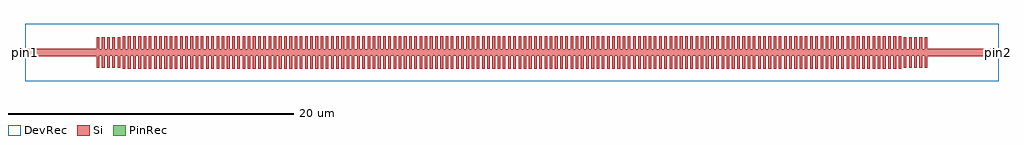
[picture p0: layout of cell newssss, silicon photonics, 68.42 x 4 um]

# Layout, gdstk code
import gdstk
lib = gdstk.Library(unit=1e-6, precision=1e-09)
def R(c, l, rs):  # rectangles x0, y0, x1, y1
    for r in rs: c.add(gdstk.rectangle(r[:2], r[2:], *l))
Si = (1, 0)
PinRec = (1, 10)
DevRec = (68, 0)

w1113 = lib.new_cell('w1113')
R(w1113, Si, [(42.705,-1.135,42.888,1.135)])

w1114 = lib.new_cell('w1114')
R(w1114, Si, [(43.07,-1.135,43.253,1.135)])

w2114 = lib.new_cell('w2114')
R(w2114, Si, [(43.253,-0.225,43.435,0.225)])

w1115 = lib.new_cell('w1115')
R(w1115, Si, [(43.435,-1.135,43.618,1.135)])

w2115 = lib.new_cell('w2115')
R(w2115, Si, [(43.618,-0.225,43.8,0.225)])

w1116 = lib.new_cell('w1116')
R(w1116, Si, [(43.8,-1.135,43.983,1.135)])

w2116 = lib.new_cell('w2116')
R(w2116, Si, [(43.983,-0.225,44.165,0.225)])

w1117 = lib.new_cell('w1117')
R(w1117, Si, [(44.165,-1.135,44.348,1.135)])

w2117 = lib.new_cell('w2117')
R(w2117, Si, [(44.348,-0.225,44.53,0.225)])

w1118 = lib.new_cell('w1118')
R(w1118, Si, [(44.53,-1.135,44.713,1.135)])

w2118 = lib.new_cell('w2118')
R(w2118, Si, [(44.713,-0.225,44.895,0.225)])

w1119 = lib.new_cell('w1119')
R(w1119, Si, [(44.895,-1.135,45.078,1.135)])

w2119 = lib.new_cell('w2119')
R(w2119, Si, [(45.078,-0.225,45.26,0.225)])

w1120 = lib.new_cell('w1120')
R(w1120, Si, [(45.26,-1.135,45.443,1.135)])

w2120 = lib.new_cell('w2120')
R(w2120, Si, [(45.443,-0.225,45.625,0.225)])

w1121 = lib.new_cell('w1121')
R(w1121, Si, [(45.625,-1.135,45.808,1.135)])

w2121 = lib.new_cell('w2121')
R(w2121, Si, [(45.808,-0.225,45.99,0.225)])

w1122 = lib.new_cell('w1122')
R(w1122, Si, [(45.99,-1.135,46.173,1.135)])

w2122 = lib.new_cell('w2122')
R(w2122, Si, [(46.173,-0.225,46.355,0.225)])

w1123 = lib.new_cell('w1123')
R(w1123, Si, [(46.355,-1.135,46.538,1.135)])

w2123 = lib.new_cell('w2123')
R(w2123, Si, [(46.538,-0.225,46.72,0.225)])

w1124 = lib.new_cell('w1124')
R(w1124, Si, [(46.72,-1.135,46.903,1.135)])

w2124 = lib.new_cell('w2124')
R(w2124, Si, [(46.903,-0.225,47.085,0.225)])

w1125 = lib.new_cell('w1125')
R(w1125, Si, [(47.085,-1.135,47.268,1.135)])

w2125 = lib.new_cell('w2125')
R(w2125, Si, [(47.268,-0.225,47.45,0.225)])

w1126 = lib.new_cell('w1126')
R(w1126, Si, [(47.45,-1.135,47.633,1.135)])

w2126 = lib.new_cell('w2126')
R(w2126, Si, [(47.633,-0.225,47.815,0.225)])

w1127 = lib.new_cell('w1127')
R(w1127, Si, [(47.815,-1.135,47.998,1.135)])

w2127 = lib.new_cell('w2127')
R(w2127, Si, [(47.998,-0.225,48.18,0.225)])

w1128 = lib.new_cell('w1128')
R(w1128, Si, [(48.18,-1.135,48.363,1.135)])

w2128 = lib.new_cell('w2128')
R(w2128, Si, [(48.363,-0.225,48.545,0.225)])

w1129 = lib.new_cell('w1129')
R(w1129, Si, [(48.545,-1.135,48.728,1.135)])

w2129 = lib.new_cell('w2129')
R(w2129, Si, [(48.728,-0.225,48.91,0.225)])

w1130 = lib.new_cell('w1130')
R(w1130, Si, [(48.91,-1.135,49.093,1.135)])

w2130 = lib.new_cell('w2130')
R(w2130, Si, [(49.093,-0.225,49.275,0.225)])

w1131 = lib.new_cell('w1131')
R(w1131, Si, [(49.275,-1.135,49.458,1.135)])

w2131 = lib.new_cell('w2131')
R(w2131, Si, [(49.458,-0.225,49.64,0.225)])

w1132 = lib.new_cell('w1132')
R(w1132, Si, [(49.64,-1.135,49.823,1.135)])

w2132 = lib.new_cell('w2132')
R(w2132, Si, [(49.823,-0.225,50.005,0.225)])

w1133 = lib.new_cell('w1133')
R(w1133, Si, [(50.005,-1.135,50.188,1.135)])

w2133 = lib.new_cell('w2133')
R(w2133, Si, [(50.188,-0.225,50.37,0.225)])

w1134 = lib.new_cell('w1134')
R(w1134, Si, [(50.37,-1.135,50.553,1.135)])

w2134 = lib.new_cell('w2134')
R(w2134, Si, [(50.553,-0.225,50.735,0.225)])

w1135 = lib.new_cell('w1135')
R(w1135, Si, [(50.735,-1.135,50.918,1.135)])

w2135 = lib.new_cell('w2135')
R(w2135, Si, [(50.918,-0.225,51.1,0.225)])

w1136 = lib.new_cell('w1136')
R(w1136, Si, [(51.1,-1.135,51.283,1.135)])

w2136 = lib.new_cell('w2136')
R(w2136, Si, [(51.283,-0.225,51.465,0.225)])

w1137 = lib.new_cell('w1137')
R(w1137, Si, [(51.465,-1.135,51.648,1.135)])

w2137 = lib.new_cell('w2137')
R(w2137, Si, [(51.648,-0.225,51.83,0.225)])

w1138 = lib.new_cell('w1138')
R(w1138, Si, [(51.83,-1.135,52.013,1.135)])

w2138 = lib.new_cell('w2138')
R(w2138, Si, [(52.013,-0.225,52.195,0.225)])

w1139 = lib.new_cell('w1139')
R(w1139, Si, [(52.195,-1.135,52.378,1.135)])

w2139 = lib.new_cell('w2139')
R(w2139, Si, [(52.378,-0.225,52.56,0.225)])

w1140 = lib.new_cell('w1140')
R(w1140, Si, [(52.56,-1.135,52.743,1.135)])

w2140 = lib.new_cell('w2140')
R(w2140, Si, [(52.743,-0.225,52.925,0.225)])

w1141 = lib.new_cell('w1141')
R(w1141, Si, [(52.925,-1.135,53.108,1.135)])

w2141 = lib.new_cell('w2141')
R(w2141, Si, [(53.108,-0.225,53.29,0.225)])

w1142 = lib.new_cell('w1142')
R(w1142, Si, [(53.29,-1.135,53.473,1.135)])

w2142 = lib.new_cell('w2142')
R(w2142, Si, [(53.473,-0.225,53.655,0.225)])

w1143 = lib.new_cell('w1143')
R(w1143, Si, [(53.655,-1.135,53.838,1.135)])

w2143 = lib.new_cell('w2143')
R(w2143, Si, [(53.838,-0.225,54.02,0.225)])

w1144 = lib.new_cell('w1144')
R(w1144, Si, [(54.02,-1.135,54.203,1.135)])

w2144 = lib.new_cell('w2144')
R(w2144, Si, [(54.203,-0.225,54.385,0.225)])

w1145 = lib.new_cell('w1145')
R(w1145, Si, [(54.385,-1.135,54.568,1.135)])

w2145 = lib.new_cell('w2145')
R(w2145, Si, [(54.568,-0.225,54.75,0.225)])

w1146 = lib.new_cell('w1146')
R(w1146, Si, [(54.75,-1.135,54.933,1.135)])

w2146 = lib.new_cell('w2146')
R(w2146, Si, [(54.933,-0.225,55.115,0.225)])

w1147 = lib.new_cell('w1147')
R(w1147, Si, [(55.115,-1.135,55.298,1.135)])

w2147 = lib.new_cell('w2147')
R(w2147, Si, [(55.298,-0.225,55.48,0.225)])

w1148 = lib.new_cell('w1148')
R(w1148, Si, [(55.48,-1.135,55.663,1.135)])

w2148 = lib.new_cell('w2148')
R(w2148, Si, [(55.663,-0.225,55.845,0.225)])

w1149 = lib.new_cell('w1149')
R(w1149, Si, [(55.845,-1.135,56.028,1.135)])

w2149 = lib.new_cell('w2149')
R(w2149, Si, [(56.028,-0.225,56.21,0.225)])

w1150 = lib.new_cell('w1150')
R(w1150, Si, [(56.21,-1.135,56.393,1.135)])

w2150 = lib.new_cell('w2150')
R(w2150, Si, [(56.393,-0.225,56.575,0.225)])

w2113 = lib.new_cell('w2113')
R(w2113, Si, [(42.888,-0.225,43.07,0.225)])

w276 = lib.new_cell('w276')
R(w276, Si, [(29.383,-0.225,29.565,0.225)])

w177 = lib.new_cell('w177')
R(w177, Si, [(29.565,-1.135,29.748,1.135)])

w277 = lib.new_cell('w277')
R(w277, Si, [(29.748,-0.225,29.93,0.225)])

w178 = lib.new_cell('w178')
R(w178, Si, [(29.93,-1.135,30.113,1.135)])

w278 = lib.new_cell('w278')
R(w278, Si, [(30.113,-0.225,30.295,0.225)])

w179 = lib.new_cell('w179')
R(w179, Si, [(30.295,-1.135,30.478,1.135)])

w279 = lib.new_cell('w279')
R(w279, Si, [(30.478,-0.225,30.66,0.225)])

w180 = lib.new_cell('w180')
R(w180, Si, [(30.66,-1.135,30.843,1.135)])

w280 = lib.new_cell('w280')
R(w280, Si, [(30.843,-0.225,31.025,0.225)])

w181 = lib.new_cell('w181')
R(w181, Si, [(31.025,-1.135,31.208,1.135)])

w281 = lib.new_cell('w281')
R(w281, Si, [(31.208,-0.225,31.39,0.225)])

w182 = lib.new_cell('w182')
R(w182, Si, [(31.39,-1.135,31.573,1.135)])

w282 = lib.new_cell('w282')
R(w282, Si, [(31.573,-0.225,31.755,0.225)])

w183 = lib.new_cell('w183')
R(w183, Si, [(31.755,-1.135,31.938,1.135)])

w283 = lib.new_cell('w283')
R(w283, Si, [(31.938,-0.225,32.12,0.225)])

w184 = lib.new_cell('w184')
R(w184, Si, [(32.12,-1.135,32.303,1.135)])

w284 = lib.new_cell('w284')
R(w284, Si, [(32.303,-0.225,32.485,0.225)])

w185 = lib.new_cell('w185')
R(w185, Si, [(32.485,-1.135,32.668,1.135)])

w285 = lib.new_cell('w285')
R(w285, Si, [(32.668,-0.225,32.85,0.225)])

w186 = lib.new_cell('w186')
R(w186, Si, [(32.85,-1.135,33.033,1.135)])

w286 = lib.new_cell('w286')
R(w286, Si, [(33.033,-0.225,33.215,0.225)])

w187 = lib.new_cell('w187')
R(w187, Si, [(33.215,-1.135,33.398,1.135)])

w287 = lib.new_cell('w287')
R(w287, Si, [(33.398,-0.225,33.58,0.225)])

w188 = lib.new_cell('w188')
R(w188, Si, [(33.58,-1.135,33.763,1.135)])

w288 = lib.new_cell('w288')
R(w288, Si, [(33.763,-0.225,33.945,0.225)])

w189 = lib.new_cell('w189')
R(w189, Si, [(33.945,-1.135,34.128,1.135)])

w289 = lib.new_cell('w289')
R(w289, Si, [(34.128,-0.225,34.31,0.225)])

w190 = lib.new_cell('w190')
R(w190, Si, [(34.31,-1.135,34.493,1.135)])

w290 = lib.new_cell('w290')
R(w290, Si, [(34.493,-0.225,34.675,0.225)])

w191 = lib.new_cell('w191')
R(w191, Si, [(34.675,-1.135,34.858,1.135)])

w291 = lib.new_cell('w291')
R(w291, Si, [(34.858,-0.225,35.04,0.225)])

w192 = lib.new_cell('w192')
R(w192, Si, [(35.04,-1.135,35.223,1.135)])

w292 = lib.new_cell('w292')
R(w292, Si, [(35.223,-0.225,35.405,0.225)])

w193 = lib.new_cell('w193')
R(w193, Si, [(35.405,-1.135,35.588,1.135)])

w293 = lib.new_cell('w293')
R(w293, Si, [(35.588,-0.225,35.77,0.225)])

w194 = lib.new_cell('w194')
R(w194, Si, [(35.77,-1.135,35.953,1.135)])

w294 = lib.new_cell('w294')
R(w294, Si, [(35.953,-0.225,36.135,0.225)])

w195 = lib.new_cell('w195')
R(w195, Si, [(36.135,-1.135,36.318,1.135)])

w295 = lib.new_cell('w295')
R(w295, Si, [(36.318,-0.225,36.5,0.225)])

w196 = lib.new_cell('w196')
R(w196, Si, [(36.5,-1.135,36.683,1.135)])

w296 = lib.new_cell('w296')
R(w296, Si, [(36.683,-0.225,36.865,0.225)])

w197 = lib.new_cell('w197')
R(w197, Si, [(36.865,-1.135,37.048,1.135)])

w297 = lib.new_cell('w297')
R(w297, Si, [(37.048,-0.225,37.23,0.225)])

w198 = lib.new_cell('w198')
R(w198, Si, [(37.23,-1.135,37.413,1.135)])

w298 = lib.new_cell('w298')
R(w298, Si, [(37.413,-0.225,37.595,0.225)])

w199 = lib.new_cell('w199')
R(w199, Si, [(37.595,-1.135,37.778,1.135)])

w299 = lib.new_cell('w299')
R(w299, Si, [(37.778,-0.225,37.96,0.225)])

w1100 = lib.new_cell('w1100')
R(w1100, Si, [(37.96,-1.135,38.143,1.135)])

w2100 = lib.new_cell('w2100')
R(w2100, Si, [(38.143,-0.225,38.325,0.225)])

w1101 = lib.new_cell('w1101')
R(w1101, Si, [(38.325,-1.135,38.508,1.135)])

w2101 = lib.new_cell('w2101')
R(w2101, Si, [(38.508,-0.225,38.69,0.225)])

w1102 = lib.new_cell('w1102')
R(w1102, Si, [(38.69,-1.135,38.873,1.135)])

w2102 = lib.new_cell('w2102')
R(w2102, Si, [(38.873,-0.225,39.055,0.225)])

w1103 = lib.new_cell('w1103')
R(w1103, Si, [(39.055,-1.135,39.238,1.135)])

w2103 = lib.new_cell('w2103')
R(w2103, Si, [(39.238,-0.225,39.42,0.225)])

w1104 = lib.new_cell('w1104')
R(w1104, Si, [(39.42,-1.135,39.603,1.135)])

w2104 = lib.new_cell('w2104')
R(w2104, Si, [(39.603,-0.225,39.785,0.225)])

w1105 = lib.new_cell('w1105')
R(w1105, Si, [(39.785,-1.135,39.968,1.135)])

w2105 = lib.new_cell('w2105')
R(w2105, Si, [(39.968,-0.225,40.15,0.225)])

w1106 = lib.new_cell('w1106')
R(w1106, Si, [(40.15,-1.135,40.333,1.135)])

w2106 = lib.new_cell('w2106')
R(w2106, Si, [(40.333,-0.225,40.515,0.225)])

w1107 = lib.new_cell('w1107')
R(w1107, Si, [(40.515,-1.135,40.698,1.135)])

w2107 = lib.new_cell('w2107')
R(w2107, Si, [(40.698,-0.225,40.88,0.225)])

w1108 = lib.new_cell('w1108')
R(w1108, Si, [(40.88,-1.135,41.063,1.135)])

w2108 = lib.new_cell('w2108')
R(w2108, Si, [(41.063,-0.225,41.245,0.225)])

w1109 = lib.new_cell('w1109')
R(w1109, Si, [(41.245,-1.135,41.428,1.135)])

w2109 = lib.new_cell('w2109')
R(w2109, Si, [(41.428,-0.225,41.61,0.225)])

w1110 = lib.new_cell('w1110')
R(w1110, Si, [(41.61,-1.135,41.793,1.135)])

w2110 = lib.new_cell('w2110')
R(w2110, Si, [(41.793,-0.225,41.975,0.225)])

w1111 = lib.new_cell('w1111')
R(w1111, Si, [(41.975,-1.135,42.158,1.135)])

w2111 = lib.new_cell('w2111')
R(w2111, Si, [(42.158,-0.225,42.34,0.225)])

w1112 = lib.new_cell('w1112')
R(w1112, Si, [(42.34,-1.135,42.523,1.135)])

w2112 = lib.new_cell('w2112')
R(w2112, Si, [(42.523,-0.225,42.705,0.225)])

w176 = lib.new_cell('w176')
R(w176, Si, [(29.2,-1.135,29.383,1.135)])

w138 = lib.new_cell('w138')
R(w138, Si, [(15.33,-1.135,15.513,1.135)])

w139 = lib.new_cell('w139')
R(w139, Si, [(15.695,-1.135,15.878,1.135)])

w239 = lib.new_cell('w239')
R(w239, Si, [(15.878,-0.225,16.06,0.225)])

w140 = lib.new_cell('w140')
R(w140, Si, [(16.06,-1.135,16.243,1.135)])

w240 = lib.new_cell('w240')
R(w240, Si, [(16.243,-0.225,16.425,0.225)])

w141 = lib.new_cell('w141')
R(w141, Si, [(16.425,-1.135,16.608,1.135)])

w241 = lib.new_cell('w241')
R(w241, Si, [(16.608,-0.225,16.79,0.225)])

w142 = lib.new_cell('w142')
R(w142, Si, [(16.79,-1.135,16.973,1.135)])

w242 = lib.new_cell('w242')
R(w242, Si, [(16.973,-0.225,17.155,0.225)])

w143 = lib.new_cell('w143')
R(w143, Si, [(17.155,-1.135,17.338,1.135)])

w243 = lib.new_cell('w243')
R(w243, Si, [(17.338,-0.225,17.52,0.225)])

w144 = lib.new_cell('w144')
R(w144, Si, [(17.52,-1.135,17.703,1.135)])

w244 = lib.new_cell('w244')
R(w244, Si, [(17.703,-0.225,17.885,0.225)])

w145 = lib.new_cell('w145')
R(w145, Si, [(17.885,-1.135,18.068,1.135)])

w245 = lib.new_cell('w245')
R(w245, Si, [(18.068,-0.225,18.25,0.225)])

w146 = lib.new_cell('w146')
R(w146, Si, [(18.25,-1.135,18.433,1.135)])

w246 = lib.new_cell('w246')
R(w246, Si, [(18.433,-0.225,18.615,0.225)])

w147 = lib.new_cell('w147')
R(w147, Si, [(18.615,-1.135,18.798,1.135)])

w247 = lib.new_cell('w247')
R(w247, Si, [(18.798,-0.225,18.98,0.225)])

w148 = lib.new_cell('w148')
R(w148, Si, [(18.98,-1.135,19.163,1.135)])

w248 = lib.new_cell('w248')
R(w248, Si, [(19.163,-0.225,19.345,0.225)])

w149 = lib.new_cell('w149')
R(w149, Si, [(19.345,-1.135,19.528,1.135)])

w249 = lib.new_cell('w249')
R(w249, Si, [(19.528,-0.225,19.71,0.225)])

w150 = lib.new_cell('w150')
R(w150, Si, [(19.71,-1.135,19.893,1.135)])

w250 = lib.new_cell('w250')
R(w250, Si, [(19.893,-0.225,20.075,0.225)])

w151 = lib.new_cell('w151')
R(w151, Si, [(20.075,-1.135,20.258,1.135)])

w251 = lib.new_cell('w251')
R(w251, Si, [(20.258,-0.225,20.44,0.225)])

w152 = lib.new_cell('w152')
R(w152, Si, [(20.44,-1.135,20.623,1.135)])

w252 = lib.new_cell('w252')
R(w252, Si, [(20.623,-0.225,20.805,0.225)])

w153 = lib.new_cell('w153')
R(w153, Si, [(20.805,-1.135,20.988,1.135)])

w253 = lib.new_cell('w253')
R(w253, Si, [(20.988,-0.225,21.17,0.225)])

w154 = lib.new_cell('w154')
R(w154, Si, [(21.17,-1.135,21.353,1.135)])

w254 = lib.new_cell('w254')
R(w254, Si, [(21.353,-0.225,21.535,0.225)])

w155 = lib.new_cell('w155')
R(w155, Si, [(21.535,-1.135,21.718,1.135)])

w255 = lib.new_cell('w255')
R(w255, Si, [(21.718,-0.225,21.9,0.225)])

w156 = lib.new_cell('w156')
R(w156, Si, [(21.9,-1.135,22.083,1.135)])

w256 = lib.new_cell('w256')
R(w256, Si, [(22.083,-0.225,22.265,0.225)])

w157 = lib.new_cell('w157')
R(w157, Si, [(22.265,-1.135,22.448,1.135)])

w257 = lib.new_cell('w257')
R(w257, Si, [(22.448,-0.225,22.63,0.225)])

w158 = lib.new_cell('w158')
R(w158, Si, [(22.63,-1.135,22.813,1.135)])

w258 = lib.new_cell('w258')
R(w258, Si, [(22.813,-0.225,22.995,0.225)])

w159 = lib.new_cell('w159')
R(w159, Si, [(22.995,-1.135,23.178,1.135)])

w259 = lib.new_cell('w259')
R(w259, Si, [(23.178,-0.225,23.36,0.225)])

w160 = lib.new_cell('w160')
R(w160, Si, [(23.36,-1.135,23.543,1.135)])

w260 = lib.new_cell('w260')
R(w260, Si, [(23.543,-0.225,23.725,0.225)])

w161 = lib.new_cell('w161')
R(w161, Si, [(23.725,-1.135,23.908,1.135)])

w261 = lib.new_cell('w261')
R(w261, Si, [(23.908,-0.225,24.09,0.225)])

w162 = lib.new_cell('w162')
R(w162, Si, [(24.09,-1.135,24.273,1.135)])

w262 = lib.new_cell('w262')
R(w262, Si, [(24.273,-0.225,24.455,0.225)])

w163 = lib.new_cell('w163')
R(w163, Si, [(24.455,-1.135,24.638,1.135)])

w263 = lib.new_cell('w263')
R(w263, Si, [(24.638,-0.225,24.82,0.225)])

w164 = lib.new_cell('w164')
R(w164, Si, [(24.82,-1.135,25.003,1.135)])

w264 = lib.new_cell('w264')
R(w264, Si, [(25.003,-0.225,25.185,0.225)])

w165 = lib.new_cell('w165')
R(w165, Si, [(25.185,-1.135,25.368,1.135)])

w265 = lib.new_cell('w265')
R(w265, Si, [(25.368,-0.225,25.55,0.225)])

w166 = lib.new_cell('w166')
R(w166, Si, [(25.55,-1.135,25.733,1.135)])

w266 = lib.new_cell('w266')
R(w266, Si, [(25.733,-0.225,25.915,0.225)])

w167 = lib.new_cell('w167')
R(w167, Si, [(25.915,-1.135,26.098,1.135)])

w267 = lib.new_cell('w267')
R(w267, Si, [(26.098,-0.225,26.28,0.225)])

w168 = lib.new_cell('w168')
R(w168, Si, [(26.28,-1.135,26.463,1.135)])

w268 = lib.new_cell('w268')
R(w268, Si, [(26.463,-0.225,26.645,0.225)])

w169 = lib.new_cell('w169')
R(w169, Si, [(26.645,-1.135,26.828,1.135)])

w269 = lib.new_cell('w269')
R(w269, Si, [(26.828,-0.225,27.01,0.225)])

w170 = lib.new_cell('w170')
R(w170, Si, [(27.01,-1.135,27.193,1.135)])

w270 = lib.new_cell('w270')
R(w270, Si, [(27.193,-0.225,27.375,0.225)])

w171 = lib.new_cell('w171')
R(w171, Si, [(27.375,-1.135,27.558,1.135)])

w271 = lib.new_cell('w271')
R(w271, Si, [(27.558,-0.225,27.74,0.225)])

w172 = lib.new_cell('w172')
R(w172, Si, [(27.74,-1.135,27.923,1.135)])

w272 = lib.new_cell('w272')
R(w272, Si, [(27.923,-0.225,28.105,0.225)])

w173 = lib.new_cell('w173')
R(w173, Si, [(28.105,-1.135,28.288,1.135)])

w273 = lib.new_cell('w273')
R(w273, Si, [(28.288,-0.225,28.47,0.225)])

w174 = lib.new_cell('w174')
R(w174, Si, [(28.47,-1.135,28.653,1.135)])

w274 = lib.new_cell('w274')
R(w274, Si, [(28.653,-0.225,28.835,0.225)])

w175 = lib.new_cell('w175')
R(w175, Si, [(28.835,-1.135,29.018,1.135)])

w275 = lib.new_cell('w275')
R(w275, Si, [(29.018,-0.225,29.2,0.225)])

w238 = lib.new_cell('w238')
R(w238, Si, [(15.513,-0.225,15.695,0.225)])

c_w2 = lib.new_cell('w2')
R(c_w2, Si, [(2.008,-0.225,2.19,0.225)])

w12 = lib.new_cell('w12')
R(w12, Si, [(2.19,-1.135,2.373,1.135)])

w22 = lib.new_cell('w22')
R(w22, Si, [(2.373,-0.225,2.555,0.225)])

w13 = lib.new_cell('w13')
R(w13, Si, [(2.555,-1.135,2.738,1.135)])

w23 = lib.new_cell('w23')
R(w23, Si, [(2.738,-0.225,2.92,0.225)])

w14 = lib.new_cell('w14')
R(w14, Si, [(2.92,-1.135,3.103,1.135)])

w24 = lib.new_cell('w24')
R(w24, Si, [(3.103,-0.225,3.285,0.225)])

w15 = lib.new_cell('w15')
R(w15, Si, [(3.285,-1.135,3.468,1.135)])

w25 = lib.new_cell('w25')
R(w25, Si, [(3.468,-0.225,3.65,0.225)])

w16 = lib.new_cell('w16')
R(w16, Si, [(3.65,-1.135,3.833,1.135)])

w26 = lib.new_cell('w26')
R(w26, Si, [(3.833,-0.225,4.015,0.225)])

w17 = lib.new_cell('w17')
R(w17, Si, [(4.015,-1.135,4.198,1.135)])

w27 = lib.new_cell('w27')
R(w27, Si, [(4.198,-0.225,4.38,0.225)])

w18 = lib.new_cell('w18')
R(w18, Si, [(4.38,-1.135,4.563,1.135)])

w28 = lib.new_cell('w28')
R(w28, Si, [(4.563,-0.225,4.745,0.225)])

w19 = lib.new_cell('w19')
R(w19, Si, [(4.745,-1.135,4.928,1.135)])

w29 = lib.new_cell('w29')
R(w29, Si, [(4.928,-0.225,5.11,0.225)])

w110 = lib.new_cell('w110')
R(w110, Si, [(5.11,-1.135,5.293,1.135)])

w210 = lib.new_cell('w210')
R(w210, Si, [(5.293,-0.225,5.475,0.225)])

w111 = lib.new_cell('w111')
R(w111, Si, [(5.475,-1.135,5.658,1.135)])

w211 = lib.new_cell('w211')
R(w211, Si, [(5.658,-0.225,5.84,0.225)])

w112 = lib.new_cell('w112')
R(w112, Si, [(5.84,-1.135,6.023,1.135)])

w212 = lib.new_cell('w212')
R(w212, Si, [(6.023,-0.225,6.205,0.225)])

w113 = lib.new_cell('w113')
R(w113, Si, [(6.205,-1.135,6.388,1.135)])

w213 = lib.new_cell('w213')
R(w213, Si, [(6.388,-0.225,6.57,0.225)])

w114 = lib.new_cell('w114')
R(w114, Si, [(6.57,-1.135,6.753,1.135)])

w214 = lib.new_cell('w214')
R(w214, Si, [(6.753,-0.225,6.935,0.225)])

w115 = lib.new_cell('w115')
R(w115, Si, [(6.935,-1.135,7.118,1.135)])

w215 = lib.new_cell('w215')
R(w215, Si, [(7.118,-0.225,7.3,0.225)])

w116 = lib.new_cell('w116')
R(w116, Si, [(7.3,-1.135,7.483,1.135)])

w216 = lib.new_cell('w216')
R(w216, Si, [(7.483,-0.225,7.665,0.225)])

w117 = lib.new_cell('w117')
R(w117, Si, [(7.665,-1.135,7.848,1.135)])

w217 = lib.new_cell('w217')
R(w217, Si, [(7.848,-0.225,8.03,0.225)])

w118 = lib.new_cell('w118')
R(w118, Si, [(8.03,-1.135,8.213,1.135)])

w218 = lib.new_cell('w218')
R(w218, Si, [(8.213,-0.225,8.395,0.225)])

w119 = lib.new_cell('w119')
R(w119, Si, [(8.395,-1.135,8.578,1.135)])

w219 = lib.new_cell('w219')
R(w219, Si, [(8.578,-0.225,8.76,0.225)])

w120 = lib.new_cell('w120')
R(w120, Si, [(8.76,-1.135,8.943,1.135)])

w220 = lib.new_cell('w220')
R(w220, Si, [(8.943,-0.225,9.125,0.225)])

w121 = lib.new_cell('w121')
R(w121, Si, [(9.125,-1.135,9.308,1.135)])

w221 = lib.new_cell('w221')
R(w221, Si, [(9.308,-0.225,9.49,0.225)])

w122 = lib.new_cell('w122')
R(w122, Si, [(9.49,-1.135,9.673,1.135)])

w222 = lib.new_cell('w222')
R(w222, Si, [(9.673,-0.225,9.855,0.225)])

w123 = lib.new_cell('w123')
R(w123, Si, [(9.855,-1.135,10.038,1.135)])

w223 = lib.new_cell('w223')
R(w223, Si, [(10.038,-0.225,10.22,0.225)])

w124 = lib.new_cell('w124')
R(w124, Si, [(10.22,-1.135,10.403,1.135)])

w224 = lib.new_cell('w224')
R(w224, Si, [(10.403,-0.225,10.585,0.225)])

w125 = lib.new_cell('w125')
R(w125, Si, [(10.585,-1.135,10.768,1.135)])

w225 = lib.new_cell('w225')
R(w225, Si, [(10.768,-0.225,10.95,0.225)])

w126 = lib.new_cell('w126')
R(w126, Si, [(10.95,-1.135,11.133,1.135)])

w226 = lib.new_cell('w226')
R(w226, Si, [(11.133,-0.225,11.315,0.225)])

w127 = lib.new_cell('w127')
R(w127, Si, [(11.315,-1.135,11.498,1.135)])

w227 = lib.new_cell('w227')
R(w227, Si, [(11.498,-0.225,11.68,0.225)])

w128 = lib.new_cell('w128')
R(w128, Si, [(11.68,-1.135,11.863,1.135)])

w228 = lib.new_cell('w228')
R(w228, Si, [(11.863,-0.225,12.045,0.225)])

w129 = lib.new_cell('w129')
R(w129, Si, [(12.045,-1.135,12.228,1.135)])

w229 = lib.new_cell('w229')
R(w229, Si, [(12.228,-0.225,12.41,0.225)])

w130 = lib.new_cell('w130')
R(w130, Si, [(12.41,-1.135,12.593,1.135)])

w230 = lib.new_cell('w230')
R(w230, Si, [(12.593,-0.225,12.775,0.225)])

w131 = lib.new_cell('w131')
R(w131, Si, [(12.775,-1.135,12.958,1.135)])

w231 = lib.new_cell('w231')
R(w231, Si, [(12.958,-0.225,13.14,0.225)])

w132 = lib.new_cell('w132')
R(w132, Si, [(13.14,-1.135,13.323,1.135)])

w232 = lib.new_cell('w232')
R(w232, Si, [(13.323,-0.225,13.505,0.225)])

w133 = lib.new_cell('w133')
R(w133, Si, [(13.505,-1.135,13.688,1.135)])

w233 = lib.new_cell('w233')
R(w233, Si, [(13.688,-0.225,13.87,0.225)])

w134 = lib.new_cell('w134')
R(w134, Si, [(13.87,-1.135,14.053,1.135)])

w234 = lib.new_cell('w234')
R(w234, Si, [(14.053,-0.225,14.235,0.225)])

w135 = lib.new_cell('w135')
R(w135, Si, [(14.235,-1.135,14.418,1.135)])

w235 = lib.new_cell('w235')
R(w235, Si, [(14.418,-0.225,14.6,0.225)])

w136 = lib.new_cell('w136')
R(w136, Si, [(14.6,-1.135,14.783,1.135)])

w236 = lib.new_cell('w236')
R(w236, Si, [(14.783,-0.225,14.965,0.225)])

w137 = lib.new_cell('w137')
R(w137, Si, [(14.965,-1.135,15.148,1.135)])

w237 = lib.new_cell('w237')
R(w237, Si, [(15.148,-0.225,15.33,0.225)])

c_w1 = lib.new_cell('w1')
R(c_w1, Si, [(1.825,-1.135,2.008,1.135)])

str = lib.new_cell('str')
str.add(gdstk.Reference(w1113, (0,0)))
str.add(gdstk.Reference(w1114, (0,0)))
str.add(gdstk.Reference(w2114, (0,0)))
str.add(gdstk.Reference(w1115, (0,0)))
str.add(gdstk.Reference(w2115, (0,0)))
str.add(gdstk.Reference(w1116, (0,0)))
str.add(gdstk.Reference(w2116, (0,0)))
str.add(gdstk.Reference(w1117, (0,0)))
str.add(gdstk.Reference(w2117, (0,0)))
str.add(gdstk.Reference(w1118, (0,0)))
str.add(gdstk.Reference(w2118, (0,0)))
str.add(gdstk.Reference(w1119, (0,0)))
str.add(gdstk.Reference(w2119, (0,0)))
str.add(gdstk.Reference(w1120, (0,0)))
str.add(gdstk.Reference(w2120, (0,0)))
str.add(gdstk.Reference(w1121, (0,0)))
str.add(gdstk.Reference(w2121, (0,0)))
str.add(gdstk.Reference(w1122, (0,0)))
str.add(gdstk.Reference(w2122, (0,0)))
str.add(gdstk.Reference(w1123, (0,0)))
str.add(gdstk.Reference(w2123, (0,0)))
str.add(gdstk.Reference(w1124, (0,0)))
str.add(gdstk.Reference(w2124, (0,0)))
str.add(gdstk.Reference(w1125, (0,0)))
str.add(gdstk.Reference(w2125, (0,0)))
str.add(gdstk.Reference(w1126, (0,0)))
str.add(gdstk.Reference(w2126, (0,0)))
str.add(gdstk.Reference(w1127, (0,0)))
str.add(gdstk.Reference(w2127, (0,0)))
str.add(gdstk.Reference(w1128, (0,0)))
str.add(gdstk.Reference(w2128, (0,0)))
str.add(gdstk.Reference(w1129, (0,0)))
str.add(gdstk.Reference(w2129, (0,0)))
str.add(gdstk.Reference(w1130, (0,0)))
str.add(gdstk.Reference(w2130, (0,0)))
str.add(gdstk.Reference(w1131, (0,0)))
str.add(gdstk.Reference(w2131, (0,0)))
str.add(gdstk.Reference(w1132, (0,0)))
str.add(gdstk.Reference(w2132, (0,0)))
str.add(gdstk.Reference(w1133, (0,0)))
str.add(gdstk.Reference(w2133, (0,0)))
str.add(gdstk.Reference(w1134, (0,0)))
str.add(gdstk.Reference(w2134, (0,0)))
str.add(gdstk.Reference(w1135, (0,0)))
str.add(gdstk.Reference(w2135, (0,0)))
str.add(gdstk.Reference(w1136, (0,0)))
str.add(gdstk.Reference(w2136, (0,0)))
str.add(gdstk.Reference(w1137, (0,0)))
str.add(gdstk.Reference(w2137, (0,0)))
str.add(gdstk.Reference(w1138, (0,0)))
str.add(gdstk.Reference(w2138, (0,0)))
str.add(gdstk.Reference(w1139, (0,0)))
str.add(gdstk.Reference(w2139, (0,0)))
str.add(gdstk.Reference(w1140, (0,0)))
str.add(gdstk.Reference(w2140, (0,0)))
str.add(gdstk.Reference(w1141, (0,0)))
str.add(gdstk.Reference(w2141, (0,0)))
str.add(gdstk.Reference(w1142, (0,0)))
str.add(gdstk.Reference(w2142, (0,0)))
str.add(gdstk.Reference(w1143, (0,0)))
str.add(gdstk.Reference(w2143, (0,0)))
str.add(gdstk.Reference(w1144, (0,0)))
str.add(gdstk.Reference(w2144, (0,0)))
str.add(gdstk.Reference(w1145, (0,0)))
str.add(gdstk.Reference(w2145, (0,0)))
str.add(gdstk.Reference(w1146, (0,0)))
str.add(gdstk.Reference(w2146, (0,0)))
str.add(gdstk.Reference(w1147, (0,0)))
str.add(gdstk.Reference(w2147, (0,0)))
str.add(gdstk.Reference(w1148, (0,0)))
str.add(gdstk.Reference(w2148, (0,0)))
str.add(gdstk.Reference(w1149, (0,0)))
str.add(gdstk.Reference(w2149, (0,0)))
str.add(gdstk.Reference(w1150, (0,0)))
str.add(gdstk.Reference(w2150, (0,0)))
str.add(gdstk.Reference(w2113, (0,0)))
str.add(gdstk.Reference(w276, (0,0)))
str.add(gdstk.Reference(w177, (0,0)))
str.add(gdstk.Reference(w277, (0,0)))
str.add(gdstk.Reference(w178, (0,0)))
str.add(gdstk.Reference(w278, (0,0)))
str.add(gdstk.Reference(w179, (0,0)))
str.add(gdstk.Reference(w279, (0,0)))
str.add(gdstk.Reference(w180, (0,0)))
str.add(gdstk.Reference(w280, (0,0)))
str.add(gdstk.Reference(w181, (0,0)))
str.add(gdstk.Reference(w281, (0,0)))
str.add(gdstk.Reference(w182, (0,0)))
str.add(gdstk.Reference(w282, (0,0)))
str.add(gdstk.Reference(w183, (0,0)))
str.add(gdstk.Reference(w283, (0,0)))
str.add(gdstk.Reference(w184, (0,0)))
str.add(gdstk.Reference(w284, (0,0)))
str.add(gdstk.Reference(w185, (0,0)))
str.add(gdstk.Reference(w285, (0,0)))
str.add(gdstk.Reference(w186, (0,0)))
str.add(gdstk.Reference(w286, (0,0)))
str.add(gdstk.Reference(w187, (0,0)))
str.add(gdstk.Reference(w287, (0,0)))
str.add(gdstk.Reference(w188, (0,0)))
str.add(gdstk.Reference(w288, (0,0)))
str.add(gdstk.Reference(w189, (0,0)))
str.add(gdstk.Reference(w289, (0,0)))
str.add(gdstk.Reference(w190, (0,0)))
str.add(gdstk.Reference(w290, (0,0)))
str.add(gdstk.Reference(w191, (0,0)))
str.add(gdstk.Reference(w291, (0,0)))
str.add(gdstk.Reference(w192, (0,0)))
str.add(gdstk.Reference(w292, (0,0)))
str.add(gdstk.Reference(w193, (0,0)))
str.add(gdstk.Reference(w293, (0,0)))
str.add(gdstk.Reference(w194, (0,0)))
str.add(gdstk.Reference(w294, (0,0)))
str.add(gdstk.Reference(w195, (0,0)))
str.add(gdstk.Reference(w295, (0,0)))
str.add(gdstk.Reference(w196, (0,0)))
str.add(gdstk.Reference(w296, (0,0)))
str.add(gdstk.Reference(w197, (0,0)))
str.add(gdstk.Reference(w297, (0,0)))
str.add(gdstk.Reference(w198, (0,0)))
str.add(gdstk.Reference(w298, (0,0)))
str.add(gdstk.Reference(w199, (0,0)))
str.add(gdstk.Reference(w299, (0,0)))
str.add(gdstk.Reference(w1100, (0,0)))
str.add(gdstk.Reference(w2100, (0,0)))
str.add(gdstk.Reference(w1101, (0,0)))
str.add(gdstk.Reference(w2101, (0,0)))
str.add(gdstk.Reference(w1102, (0,0)))
str.add(gdstk.Reference(w2102, (0,0)))
str.add(gdstk.Reference(w1103, (0,0)))
str.add(gdstk.Reference(w2103, (0,0)))
str.add(gdstk.Reference(w1104, (0,0)))
str.add(gdstk.Reference(w2104, (0,0)))
str.add(gdstk.Reference(w1105, (0,0)))
str.add(gdstk.Reference(w2105, (0,0)))
str.add(gdstk.Reference(w1106, (0,0)))
str.add(gdstk.Reference(w2106, (0,0)))
str.add(gdstk.Reference(w1107, (0,0)))
str.add(gdstk.Reference(w2107, (0,0)))
str.add(gdstk.Reference(w1108, (0,0)))
str.add(gdstk.Reference(w2108, (0,0)))
str.add(gdstk.Reference(w1109, (0,0)))
str.add(gdstk.Reference(w2109, (0,0)))
str.add(gdstk.Reference(w1110, (0,0)))
str.add(gdstk.Reference(w2110, (0,0)))
str.add(gdstk.Reference(w1111, (0,0)))
str.add(gdstk.Reference(w2111, (0,0)))
str.add(gdstk.Reference(w1112, (0,0)))
str.add(gdstk.Reference(w2112, (0,0)))
str.add(gdstk.Reference(w176, (0,0)))
str.add(gdstk.Reference(w138, (0,0)))
str.add(gdstk.Reference(w139, (0,0)))
str.add(gdstk.Reference(w239, (0,0)))
str.add(gdstk.Reference(w140, (0,0)))
str.add(gdstk.Reference(w240, (0,0)))
str.add(gdstk.Reference(w141, (0,0)))
str.add(gdstk.Reference(w241, (0,0)))
str.add(gdstk.Reference(w142, (0,0)))
str.add(gdstk.Reference(w242, (0,0)))
str.add(gdstk.Reference(w143, (0,0)))
str.add(gdstk.Reference(w243, (0,0)))
str.add(gdstk.Reference(w144, (0,0)))
str.add(gdstk.Reference(w244, (0,0)))
str.add(gdstk.Reference(w145, (0,0)))
str.add(gdstk.Reference(w245, (0,0)))
str.add(gdstk.Reference(w146, (0,0)))
str.add(gdstk.Reference(w246, (0,0)))
str.add(gdstk.Reference(w147, (0,0)))
str.add(gdstk.Reference(w247, (0,0)))
str.add(gdstk.Reference(w148, (0,0)))
str.add(gdstk.Reference(w248, (0,0)))
str.add(gdstk.Reference(w149, (0,0)))
str.add(gdstk.Reference(w249, (0,0)))
str.add(gdstk.Reference(w150, (0,0)))
str.add(gdstk.Reference(w250, (0,0)))
str.add(gdstk.Reference(w151, (0,0)))
str.add(gdstk.Reference(w251, (0,0)))
str.add(gdstk.Reference(w152, (0,0)))
str.add(gdstk.Reference(w252, (0,0)))
str.add(gdstk.Reference(w153, (0,0)))
str.add(gdstk.Reference(w253, (0,0)))
str.add(gdstk.Reference(w154, (0,0)))
str.add(gdstk.Reference(w254, (0,0)))
str.add(gdstk.Reference(w155, (0,0)))
str.add(gdstk.Reference(w255, (0,0)))
str.add(gdstk.Reference(w156, (0,0)))
str.add(gdstk.Reference(w256, (0,0)))
str.add(gdstk.Reference(w157, (0,0)))
str.add(gdstk.Reference(w257, (0,0)))
str.add(gdstk.Reference(w158, (0,0)))
str.add(gdstk.Reference(w258, (0,0)))
str.add(gdstk.Reference(w159, (0,0)))
str.add(gdstk.Reference(w259, (0,0)))
str.add(gdstk.Reference(w160, (0,0)))
str.add(gdstk.Reference(w260, (0,0)))
str.add(gdstk.Reference(w161, (0,0)))
str.add(gdstk.Reference(w261, (0,0)))
str.add(gdstk.Reference(w162, (0,0)))
str.add(gdstk.Reference(w262, (0,0)))
str.add(gdstk.Reference(w163, (0,0)))
str.add(gdstk.Reference(w263, (0,0)))
str.add(gdstk.Reference(w164, (0,0)))
str.add(gdstk.Reference(w264, (0,0)))
str.add(gdstk.Reference(w165, (0,0)))
str.add(gdstk.Reference(w265, (0,0)))
str.add(gdstk.Reference(w166, (0,0)))
str.add(gdstk.Reference(w266, (0,0)))
str.add(gdstk.Reference(w167, (0,0)))
str.add(gdstk.Reference(w267, (0,0)))
str.add(gdstk.Reference(w168, (0,0)))
str.add(gdstk.Reference(w268, (0,0)))
str.add(gdstk.Reference(w169, (0,0)))
str.add(gdstk.Reference(w269, (0,0)))
str.add(gdstk.Reference(w170, (0,0)))
str.add(gdstk.Reference(w270, (0,0)))
str.add(gdstk.Reference(w171, (0,0)))
str.add(gdstk.Reference(w271, (0,0)))
str.add(gdstk.Reference(w172, (0,0)))
str.add(gdstk.Reference(w272, (0,0)))
str.add(gdstk.Reference(w173, (0,0)))
str.add(gdstk.Reference(w273, (0,0)))
str.add(gdstk.Reference(w174, (0,0)))
str.add(gdstk.Reference(w274, (0,0)))
str.add(gdstk.Reference(w175, (0,0)))
str.add(gdstk.Reference(w275, (0,0)))
str.add(gdstk.Reference(w238, (0,0)))
str.add(gdstk.Reference(c_w2, (0,0)))
str.add(gdstk.Reference(w12, (0,0)))
str.add(gdstk.Reference(w22, (0,0)))
str.add(gdstk.Reference(w13, (0,0)))
str.add(gdstk.Reference(w23, (0,0)))
str.add(gdstk.Reference(w14, (0,0)))
str.add(gdstk.Reference(w24, (0,0)))
str.add(gdstk.Reference(w15, (0,0)))
str.add(gdstk.Reference(w25, (0,0)))
str.add(gdstk.Reference(w16, (0,0)))
str.add(gdstk.Reference(w26, (0,0)))
str.add(gdstk.Reference(w17, (0,0)))
str.add(gdstk.Reference(w27, (0,0)))
str.add(gdstk.Reference(w18, (0,0)))
str.add(gdstk.Reference(w28, (0,0)))
str.add(gdstk.Reference(w19, (0,0)))
str.add(gdstk.Reference(w29, (0,0)))
str.add(gdstk.Reference(w110, (0,0)))
str.add(gdstk.Reference(w210, (0,0)))
str.add(gdstk.Reference(w111, (0,0)))
str.add(gdstk.Reference(w211, (0,0)))
str.add(gdstk.Reference(w112, (0,0)))
str.add(gdstk.Reference(w212, (0,0)))
str.add(gdstk.Reference(w113, (0,0)))
str.add(gdstk.Reference(w213, (0,0)))
str.add(gdstk.Reference(w114, (0,0)))
str.add(gdstk.Reference(w214, (0,0)))
str.add(gdstk.Reference(w115, (0,0)))
str.add(gdstk.Reference(w215, (0,0)))
str.add(gdstk.Reference(w116, (0,0)))
str.add(gdstk.Reference(w216, (0,0)))
str.add(gdstk.Reference(w117, (0,0)))
str.add(gdstk.Reference(w217, (0,0)))
str.add(gdstk.Reference(w118, (0,0)))
str.add(gdstk.Reference(w218, (0,0)))
str.add(gdstk.Reference(w119, (0,0)))
str.add(gdstk.Reference(w219, (0,0)))
str.add(gdstk.Reference(w120, (0,0)))
str.add(gdstk.Reference(w220, (0,0)))
str.add(gdstk.Reference(w121, (0,0)))
str.add(gdstk.Reference(w221, (0,0)))
str.add(gdstk.Reference(w122, (0,0)))
str.add(gdstk.Reference(w222, (0,0)))
str.add(gdstk.Reference(w123, (0,0)))
str.add(gdstk.Reference(w223, (0,0)))
str.add(gdstk.Reference(w124, (0,0)))
str.add(gdstk.Reference(w224, (0,0)))
str.add(gdstk.Reference(w125, (0,0)))
str.add(gdstk.Reference(w225, (0,0)))
str.add(gdstk.Reference(w126, (0,0)))
str.add(gdstk.Reference(w226, (0,0)))
str.add(gdstk.Reference(w127, (0,0)))
str.add(gdstk.Reference(w227, (0,0)))
str.add(gdstk.Reference(w128, (0,0)))
str.add(gdstk.Reference(w228, (0,0)))
str.add(gdstk.Reference(w129, (0,0)))
str.add(gdstk.Reference(w229, (0,0)))
str.add(gdstk.Reference(w130, (0,0)))
str.add(gdstk.Reference(w230, (0,0)))
str.add(gdstk.Reference(w131, (0,0)))
str.add(gdstk.Reference(w231, (0,0)))
str.add(gdstk.Reference(w132, (0,0)))
str.add(gdstk.Reference(w232, (0,0)))
str.add(gdstk.Reference(w133, (0,0)))
str.add(gdstk.Reference(w233, (0,0)))
str.add(gdstk.Reference(w134, (0,0)))
str.add(gdstk.Reference(w234, (0,0)))
str.add(gdstk.Reference(w135, (0,0)))
str.add(gdstk.Reference(w235, (0,0)))
str.add(gdstk.Reference(w136, (0,0)))
str.add(gdstk.Reference(w236, (0,0)))
str.add(gdstk.Reference(w137, (0,0)))
str.add(gdstk.Reference(w237, (0,0)))
str.add(gdstk.Reference(c_w1, (0,0)))

input_wg = lib.new_cell('input_wg')
R(input_wg, Si, [(-5,-0.25,0,0.25)])

c_t1 = lib.new_cell('t1')
R(c_t1, Si, [(0,-1.085,0.183,1.085)])

c_t2 = lib.new_cell('t2')
R(c_t2, Si, [(0.183,-0.245,0.365,0.245)])

t12 = lib.new_cell('t12')
R(t12, Si, [(0.365,-1.085,0.548,1.085)])

t22 = lib.new_cell('t22')
R(t22, Si, [(0.548,-0.24,0.73,0.24)])

t13 = lib.new_cell('t13')
R(t13, Si, [(0.73,-1.085,0.913,1.085)])

t23 = lib.new_cell('t23')
R(t23, Si, [(0.913,-0.235,1.095,0.235)])

t14 = lib.new_cell('t14')
R(t14, Si, [(1.095,-1.085,1.278,1.085)])

t24 = lib.new_cell('t24')
R(t24, Si, [(1.278,-0.23,1.46,0.23)])

t15 = lib.new_cell('t15')
R(t15, Si, [(1.46,-1.085,1.643,1.085)])

t25 = lib.new_cell('t25')
R(t25, Si, [(1.643,-0.225,1.825,0.225)])

t16 = lib.new_cell('t16')
R(t16, Si, [(56.575,-1.085,56.758,1.085)])

t26 = lib.new_cell('t26')
R(t26, Si, [(56.758,-0.23,56.94,0.23)])

t17 = lib.new_cell('t17')
R(t17, Si, [(56.94,-1.085,57.123,1.085)])

t27 = lib.new_cell('t27')
R(t27, Si, [(57.123,-0.235,57.305,0.235)])

t18 = lib.new_cell('t18')
R(t18, Si, [(57.305,-1.085,57.488,1.085)])

t28 = lib.new_cell('t28')
R(t28, Si, [(57.488,-0.24,57.67,0.24)])

t19 = lib.new_cell('t19')
R(t19, Si, [(57.67,-1.085,57.853,1.085)])

t29 = lib.new_cell('t29')
R(t29, Si, [(57.853,-0.245,58.035,0.245)])

t110 = lib.new_cell('t110')
R(t110, Si, [(58.035,-1.085,58.218,1.085)])

t210 = lib.new_cell('t210')
R(t210, Si, [(58.218,-0.25,63.218,0.25)])

taper = lib.new_cell('taper')
taper.add(gdstk.Reference(input_wg, (0,0)))
taper.add(gdstk.Reference(c_t1, (0,0)))
taper.add(gdstk.Reference(c_t2, (0,0)))
taper.add(gdstk.Reference(t12, (0,0)))
taper.add(gdstk.Reference(t22, (0,0)))
taper.add(gdstk.Reference(t13, (0,0)))
taper.add(gdstk.Reference(t23, (0,0)))
taper.add(gdstk.Reference(t14, (0,0)))
taper.add(gdstk.Reference(t24, (0,0)))
taper.add(gdstk.Reference(t15, (0,0)))
taper.add(gdstk.Reference(t25, (0,0)))
taper.add(gdstk.Reference(t16, (0,0)))
taper.add(gdstk.Reference(t26, (0,0)))
taper.add(gdstk.Reference(t17, (0,0)))
taper.add(gdstk.Reference(t27, (0,0)))
taper.add(gdstk.Reference(t18, (0,0)))
taper.add(gdstk.Reference(t28, (0,0)))
taper.add(gdstk.Reference(t19, (0,0)))
taper.add(gdstk.Reference(t29, (0,0)))
taper.add(gdstk.Reference(t110, (0,0)))
taper.add(gdstk.Reference(t210, (0,0)))

newssss = lib.new_cell('newssss')
R(newssss, DevRec, [(0,-0.865,68.218,3.135)])
newssss.add(gdstk.FlexPath([(0.1,1.135),(-0.1,1.135)], 0.5, ends="flush", simple_path=True, layer=1, datatype=10))  # PinRec
newssss.add(gdstk.FlexPath([(68.118,1.135),(68.318,1.135)], 0.5, ends="flush", simple_path=True, layer=1, datatype=10))  # PinRec
newssss.add(gdstk.Reference(str, (5,1.135)))
newssss.add(gdstk.Reference(taper, (5,1.135)))
newssss.add(gdstk.Label('pin1', (0,1.135), layer=1, texttype=10))
newssss.add(gdstk.Label('pin2', (68.218,1.135), layer=1, texttype=10))

lib.write_gds('newssss.gds')
